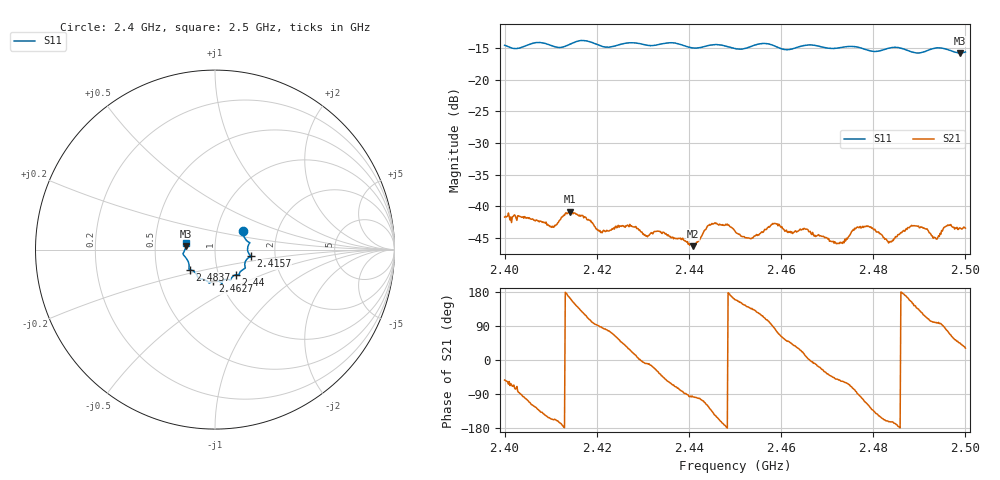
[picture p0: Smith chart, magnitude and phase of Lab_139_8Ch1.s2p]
# Hz S RI R 50
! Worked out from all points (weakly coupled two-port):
!   601 points, 2.4 GHz to 2.5 GHz, reference 50 ohm
!   highest |S21| = -40.88 dB at 2.4142 GHz (marker M1); lowest = -46.4 dB at 2.4408 GHz (marker M2)
!   lowest |S11| = -15.7 dB at 2.4988 GHz (marker M3), VSWR 1.39, Z = 36 + j1.31 ohm
!   |S11| at or under -10 dB: start of sweep to end of sweep
!   S12 and S22 are empty: the file has one direction only
!   S11 on the Smith chart (normalised r, x): 2.4 GHz: 1.33, +0.29; 2.4157 GHz: 1.49, -0.11; 2.44 GHz: 1.21, -0.35; 2.4627 GHz: 0.92, -0.34; 2.4837 GHz: 0.74, -0.17; 2.5 GHz: 0.72, +0.05
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2.4e9  0.1562 0.1056  0.00494 -0.00653  0 0  0 0
2.410333e9  0.1849 0.0222  -0.00634 -0.00278  0 0  0 0
2.414167e9  0.1902 -0.0253  -0.00867 0.00255  0 0  0 0
2.415667e9  0.1988 -0.0364  -0.0068 0.00533  0 0  0 0
2.416667e9  0.2016 -0.0398  -0.00533 0.00654  0 0  0 0
2.420667e9  0.1802 -0.0506  0.000253 0.00641  0 0  0 0
2.433333e9  0.1357 -0.1339  0.0054 -0.00329  0 0  0 0
2.44e9  0.1156 -0.1404  -0.000541 -0.00503  0 0  0 0
2.440833e9  0.1083 -0.1429  -0.000602 -0.00477  0 0  0 0
2.445e9  0.0858 -0.1691  -0.00521 -0.00509  0 0  0 0
2.45e9  0.0635 -0.1656  -0.00591 0.00228  0 0  0 0
2.458667e9  0.0319 -0.1829  0.000985 0.0072  0 0  0 0
2.462667e9  -0.0113 -0.177  0.00475 0.00391  0 0  0 0
2.466667e9  -0.033 -0.1866  0.00593 -0.000511  0 0  0 0
2.472833e9  -0.076 -0.1637  0.00303 -0.00419  0 0  0 0
2.479e9  -0.1047 -0.1355  -0.00351 -0.00593  0 0  0 0
2.483333e9  -0.1387 -0.1123  -0.00487 -0.0015  0 0  0 0
2.483667e9  -0.1407 -0.1119  -0.00502 -0.00152  0 0  0 0
2.4885e9  -0.1451 -0.0811  -0.00599 0.00354  0 0  0 0
2.4935e9  -0.1769 -0.0277  -0.000861 0.00553  0 0  0 0
2.498833e9  -0.1626 0.0177  0.00478 0.00472  0 0  0 0
2.5e9  -0.1627 0.0363  0.00571 0.00347  0 0  0 0
